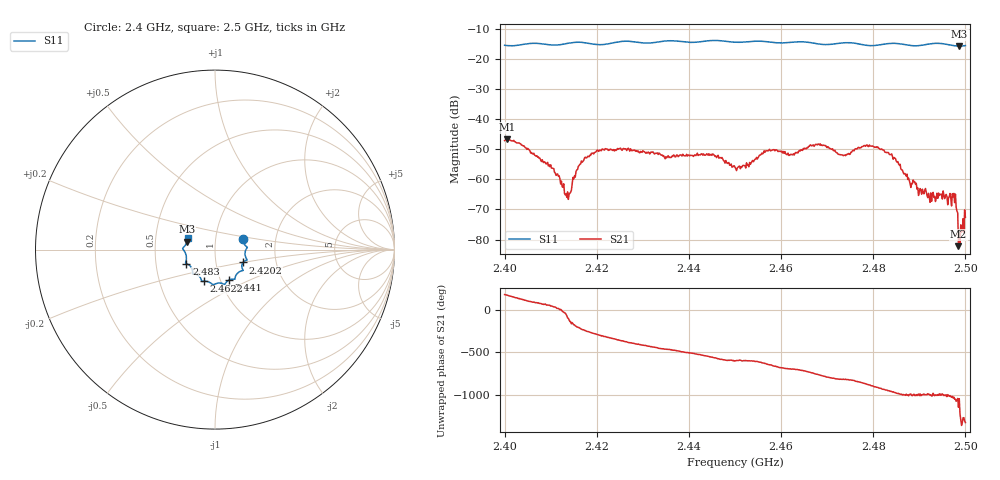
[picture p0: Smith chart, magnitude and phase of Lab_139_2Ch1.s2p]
# Hz S RI R 50
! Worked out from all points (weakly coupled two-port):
!   601 points, 2.4 GHz to 2.5 GHz, reference 50 ohm
!   highest |S21| = -46.76 dB at 2.4005 GHz (marker M1); lowest = -82.2 dB at 2.4985 GHz (marker M2)
!   lowest |S11| = -15.8 dB at 2.4987 GHz (marker M3), VSWR 1.39, Z = 36.4 + j3.32 ohm
!   |S11| at or under -10 dB: start of sweep to end of sweep
!   S12 and S22 are empty: the file has one direction only
!   S11 on the Smith chart (normalised r, x): 2.4 GHz: 1.36, +0.17; 2.4202 GHz: 1.35, -0.20; 2.441 GHz: 1.09, -0.39; 2.4622 GHz: 0.83, -0.30; 2.483 GHz: 0.72, -0.12; 2.5 GHz: 0.73, +0.09
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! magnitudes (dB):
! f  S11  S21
! 2.4 GHz  -15.5  -47.2
! 2.4005 GHz  -15.6  -46.8
! 2.4102 GHz  -15.4  -56.3
! 2.4135 GHz  -15.0  -66.0
! 2.4167 GHz  -14.6  -53.9
! 2.4202 GHz  -15.3  -50.3
! 2.4333 GHz  -14.4  -51.8
! 2.441 GHz  -14.6  -52.4
! 2.45 GHz  -14.5  -56.0
! 2.4572 GHz  -14.4  -50.6
! 2.4622 GHz  -14.5  -51.7
! 2.4667 GHz  -14.7  -48.9
! 2.4735 GHz  -14.7  -52.2
! 2.4782 GHz  -15.5  -48.8
! 2.483 GHz  -15.0  -51.2
! 2.4833 GHz  -15.0  -51.2
! 2.49 GHz  -15.6  -64.0
! 2.4973 GHz  -15.6  -65.8
! 2.4978 GHz  -15.7  -64.9
! 2.4985 GHz  -15.8  -82.2
! 2.4987 GHz  -15.8  -77.0
! 2.5 GHz  -15.6  -72.6
